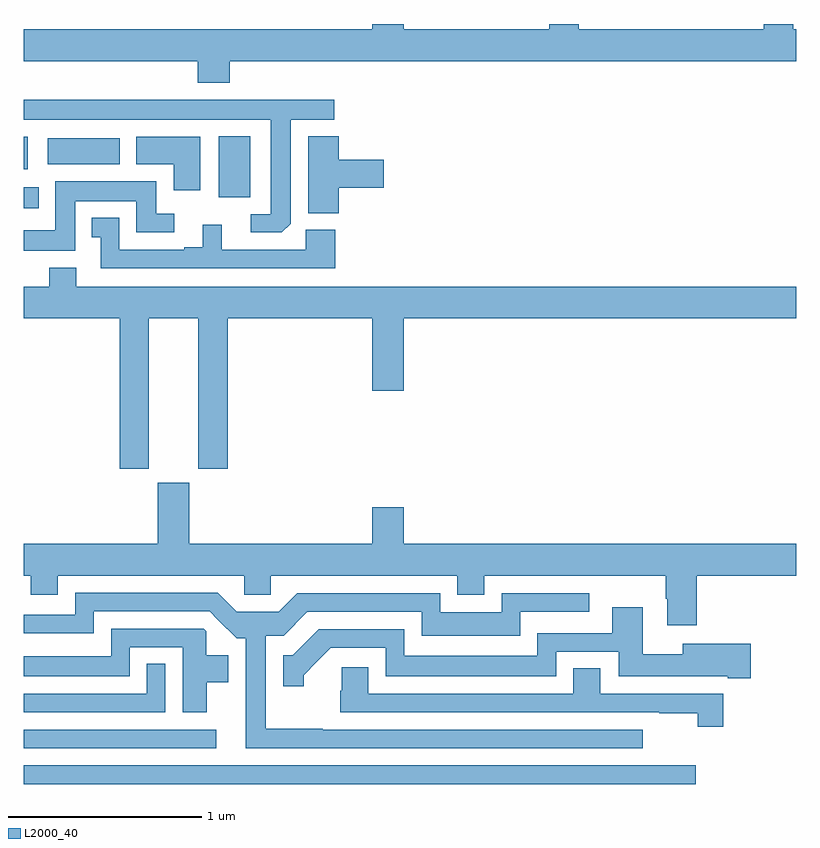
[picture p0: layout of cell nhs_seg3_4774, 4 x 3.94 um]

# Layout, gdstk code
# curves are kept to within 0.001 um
import gdstk
lib = gdstk.Library(unit=1e-6, precision=1e-09)
def R(c, l, rs):  # rectangles x0, y0, x1, y1
    for r in rs: c.add(gdstk.rectangle(r[:2], r[2:], *l))
def P(c, l, *ps):  # polygons
    for p in ps: c.add(gdstk.Polygon(p, *l))
L2000_40 = (2000, 40)

nhs_seg3_4774 = lib.new_cell('nhs_seg3_4774')
R(nhs_seg3_4774, L2000_40, [(367,738.465,370.48,738.561), (367,738.651,367.996,738.747), (367,741.446,367.078,741.556), (368.009,741.504,368.173,741.82), (367,741.647,367.021,741.817), (367.125,741.674,367.498,741.808)])
P(nhs_seg3_4774, L2000_40, [(368.066,742.208),(371,742.208),(371,742.372),(370.984,742.372),(370.984,742.4),(370.832,742.4),(370.832,742.372),(369.874,742.372),(369.874,742.4),(369.722,742.4),(369.722,742.372),(368.968,742.372),(368.968,742.4),(368.804,742.4),(368.804,742.372),(367,742.372),(367,742.208),(367.901,742.208),(367.901,742.097),(368.066,742.097)],
  [(368.382,741.367),(368.383,741.905),(368.608,741.905),(368.608,742.009),(367,742.009),(367,741.905),(368.279,741.905),(368.279,741.414),(368.175,741.414),(368.175,741.321),(368.336,741.321)],
  [(368.63,741.551),(368.863,741.551),(368.863,741.698),(368.63,741.698),(368.63,741.82),(368.474,741.82),(368.474,741.419),(368.63,741.419)],
  [(367.915,741.817),(367.583,741.817),(367.583,741.674),(367.778,741.674),(367.778,741.54),(367.915,741.54)],
  [(367.267,741.482),(367.583,741.482),(367.583,741.321),(367.78,741.321),(367.78,741.417),(367.687,741.417),(367.687,741.586),(367.163,741.586),(367.163,741.331),(367,741.331),(367,741.227),(367.267,741.227)],
  [(368.612,741.334),(368.46,741.334),(368.46,741.231),(368.026,741.231),(368.026,741.361),(367.928,741.361),(367.928,741.244),(367.832,741.244),(367.832,741.231),(367.494,741.231),(367.494,741.397),(367.352,741.397),(367.352,741.297),(367.398,741.297),(367.398,741.135),(368.612,741.135)],
  [(367.648,740.876),(367.904,740.876),(367.904,740.097),(368.057,740.097),(368.057,740.876),(368.804,740.876),(368.804,740.502),(368.968,740.502),(368.968,740.876),(371,740.876),(371,741.04),(367.273,741.04),(367.273,741.139),(367.133,741.139),(367.133,741.04),(367,741.04),(367,740.876),(367.496,740.876),(367.496,740.097),(367.648,740.097)],
  [(370.484,739.544),(371,739.544),(371,739.708),(368.968,739.708),(368.968,739.897),(368.804,739.897),(368.804,739.708),(367.858,739.708),(367.858,740.025),(367.694,740.025),(367.694,739.708),(367,739.708),(367,739.544),(367.037,739.544),(367.037,739.445),(367.177,739.445),(367.177,739.544),(368.142,739.544),(368.142,739.446),(368.28,739.446),(368.28,739.544),(369.245,739.544),(369.245,739.445),(369.385,739.445),(369.385,739.544),(370.324,739.544),(370.324,739.424),(370.331,739.424),(370.331,739.287),(370.484,739.287)],
  [(370.204,738.747),(368.549,738.747),(368.549,738.75),(368.254,738.75),(368.254,739.233),(368.346,739.233),(368.469,739.356),(369.06,739.356),(369.06,739.232),(369.57,739.232),(369.57,739.356),(369.928,739.356),(369.928,739.452),(369.474,739.452),(369.474,739.354),(369.156,739.354),(369.156,739.452),(368.417,739.452),(368.321,739.356),(368.104,739.356),(368.005,739.455),(367.266,739.455),(367.266,739.341),(367,739.341),(367,739.245),(367.362,739.245),(367.362,739.359),(367.962,739.359),(368.102,739.22),(368.15,739.22),(368.15,738.651),(370.204,738.651)],
  [(368.449,739.028),(368.589,739.17),(368.874,739.17),(368.874,739.022),(369.756,739.022),(369.756,739.149),(370.082,739.149),(370.082,739.022),(370.646,739.022),(370.646,739.013),(370.765,739.013),(370.765,739.191),(370.412,739.191),(370.412,739.137),(370.204,739.137),(370.204,739.381),(370.046,739.381),(370.046,739.245),(369.66,739.245),(369.66,739.129),(368.97,739.129),(368.97,739.266),(368.528,739.266),(368.393,739.131),(368.345,739.131),(368.345,738.972),(368.449,738.972)],
  [(367.948,738.992),(368.059,738.992),(368.059,739.132),(367.946,739.132),(367.946,739.255),(367.932,739.269),(367.452,739.269),(367.452,739.126),(367,739.126),(367,739.022),(367.548,739.022),(367.548,739.173),(367.823,739.173),(367.823,738.837),(367.948,738.837)],
  [(367.734,739.088),(367.638,739.088),(367.638,738.933),(367,738.933),(367,738.837),(367.734,738.837)],
  [(370.621,738.933),(369.985,738.933),(369.985,739.064),(369.845,739.064),(369.845,738.933),(368.785,738.933),(368.785,739.069),(368.646,739.069),(368.646,738.948),(368.638,738.948),(368.638,738.837),(370.291,738.837),(370.291,738.832),(370.49,738.832),(370.49,738.762),(370.621,738.762)])

lib.write_gds('nhs_seg3_4774.gds')
